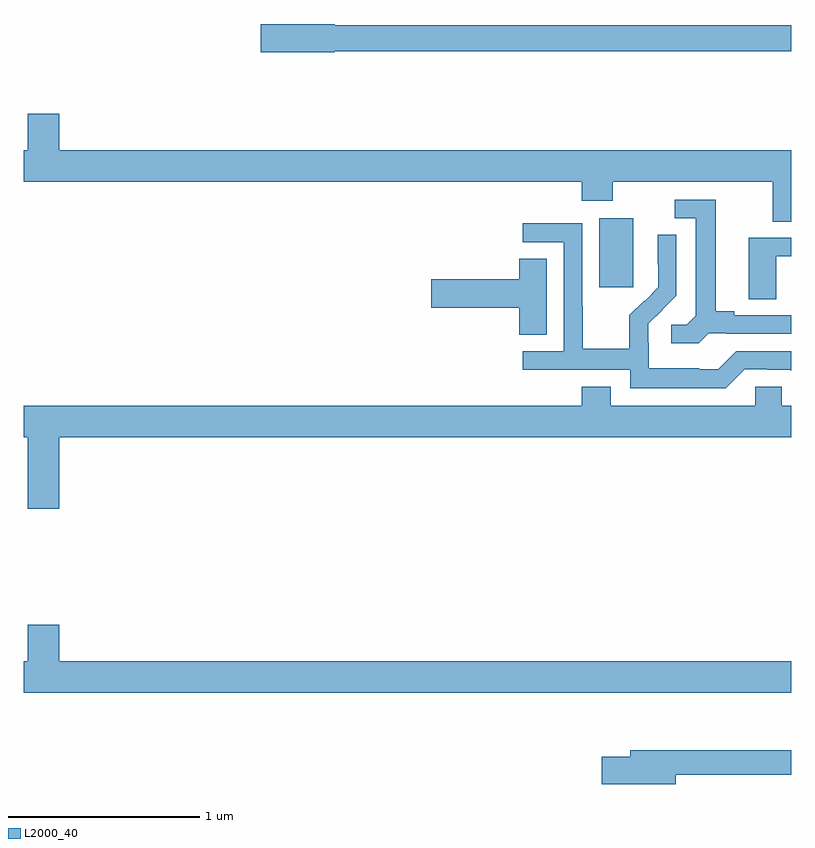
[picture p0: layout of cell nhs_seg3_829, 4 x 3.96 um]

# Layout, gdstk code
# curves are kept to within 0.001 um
import gdstk
lib = gdstk.Library(unit=1e-6, precision=1e-09)
def R(c, l, rs):  # rectangles x0, y0, x1, y1
    for r in rs: c.add(gdstk.rectangle(r[:2], r[2:], *l))
def P(c, l, *ps):  # polygons
    for p in ps: c.add(gdstk.Polygon(p, *l))
L2000_40 = (2000, 40)

nhs_seg3_829 = lib.new_cell('nhs_seg3_829')
R(nhs_seg3_829, L2000_40, [(155.999,723.009,156.178,723.37)])
P(nhs_seg3_829, L2000_40, [(154.62,724.24),(157,724.24),(157,724.376),(154.62,724.376),(154.62,724.382),(154.236,724.382),(154.236,724.235),(154.62,724.235)],
  [(157,723.724),(153.184,723.724),(153.184,723.913),(153.02,723.913),(153.02,723.724),(153,723.724),(153,723.56),(155.909,723.56),(155.909,723.461),(156.069,723.461),(156.069,723.56),(156.905,723.56),(156.905,723.352),(157,723.352)],
  [(156.57,722.769),(156.664,722.769),(156.664,722.766),(157,722.766),(157,722.864),(156.998,722.862),(156.703,722.862),(156.703,722.885),(156.607,722.885),(156.607,723.465),(156.393,723.465),(156.393,723.369),(156.503,723.369),(156.503,722.861),(156.456,722.814),(156.375,722.814),(156.375,722.717),(156.518,722.717)],
  [(156.759,722.583),(156.875,722.583),(156.875,722.58),(156.993,722.58),(157,722.573),(157,722.676),(156.714,722.676),(156.621,722.583),(156.521,722.583),(156.521,722.587),(156.258,722.587),(156.258,722.721),(156.256,722.721),(156.256,722.818),(156.402,722.966),(156.402,723.284),(156.306,723.284),(156.306,723.13),(156.308,723.13),(156.308,723.008),(156.237,722.937),(156.234,722.94),(156.157,722.863),(156.157,722.689),(155.913,722.689),(155.913,722.912),(155.91,722.912),(155.91,723.342),(155.601,723.342),(155.601,723.243),(155.814,723.243),(155.814,722.676),(155.601,722.676),(155.601,722.58),(156.162,722.58),(156.162,722.483),(156.659,722.483)],
  [(156.924,723.171),(157,723.171),(157,723.267),(156.779,723.267),(156.779,722.947),(156.924,722.947)],
  [(155.725,723.158),(155.582,723.158),(155.582,723.05),(155.124,723.05),(155.124,722.903),(155.582,722.903),(155.582,722.761),(155.725,722.761)],
  [(153.184,722.228),(157,722.228),(157,722.392),(156.951,722.392),(156.951,722.49),(156.813,722.49),(156.813,722.392),(156.061,722.392),(156.061,722.491),(155.909,722.491),(155.909,722.392),(153,722.392),(153,722.228),(153.02,722.228),(153.02,721.854),(153.184,721.854)],
  [(157,721.06),(153.184,721.06),(153.184,721.249),(153.02,721.249),(153.02,721.06),(153,721.06),(153,720.896),(157,720.896)],
  [(156.4,720.466),(157,720.466),(157,720.595),(156.161,720.595),(156.161,720.561),(156.012,720.561),(156.012,720.419),(156.4,720.419)])

lib.write_gds('nhs_seg3_829.gds')
